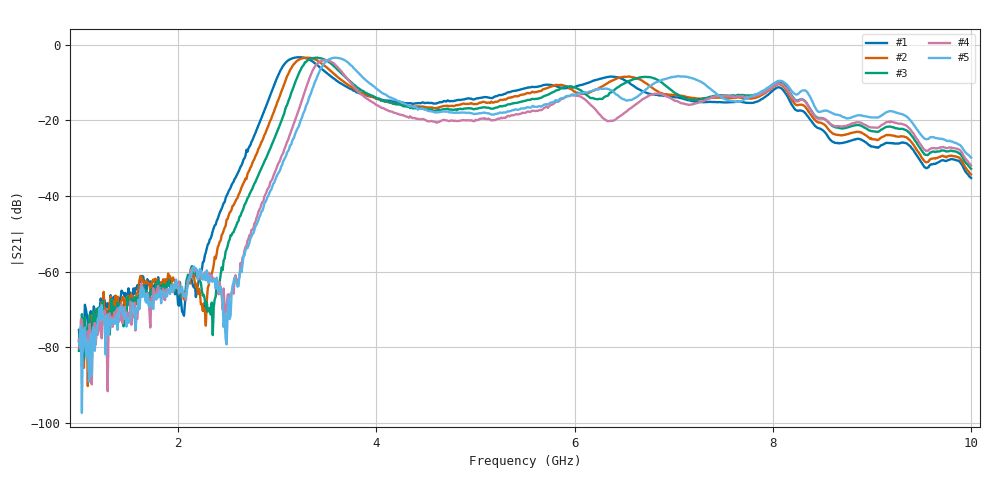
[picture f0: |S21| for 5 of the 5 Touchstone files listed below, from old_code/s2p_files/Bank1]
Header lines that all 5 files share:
!Agilent Technologies,N5227A,US51270477,A.10.00.00
!File generated by LCAF-GAM-UPV software
!josevmart@iteam.upv.es
!S2P File: Measurements: S11, S21, S12, S22:
# Hz S  dB  R 50
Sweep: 1 GHz to 10 GHz
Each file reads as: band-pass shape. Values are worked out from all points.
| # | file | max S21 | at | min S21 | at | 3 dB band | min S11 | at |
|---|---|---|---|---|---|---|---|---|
| 1 | Channel1.s2p | -3.31 dB | 3.21 GHz | -81.1 dB | 1.1 GHz | 3.05 GHz-3.44 GHz | -25.1 dB | 3.14 GHz |
| 2 | Channel2.s2p | -3.40 dB | 3.31 GHz | -90.3 dB | 1.09 GHz | 3.14 GHz-3.51 GHz | -41.6 dB | 3.24 GHz |
| 3 | Channel3.s2p | -3.43 dB | 3.39 GHz | -83.3 dB | 1.05 GHz | 3.25 GHz-3.6 GHz | -26.7 dB | 3.34 GHz |
| 4 | Channel4.s2p | -4.09 dB | 3.49 GHz | -91.6 dB | 1.29 GHz | 3.36 GHz-3.64 GHz | -26.7 dB | 3.44 GHz |
| 5 | Channel5.s2p | -3.44 dB | 3.58 GHz | -97.4 dB | 1.03 GHz | 3.44 GHz-3.78 GHz | -31.5 dB | 3.53 GHz |
